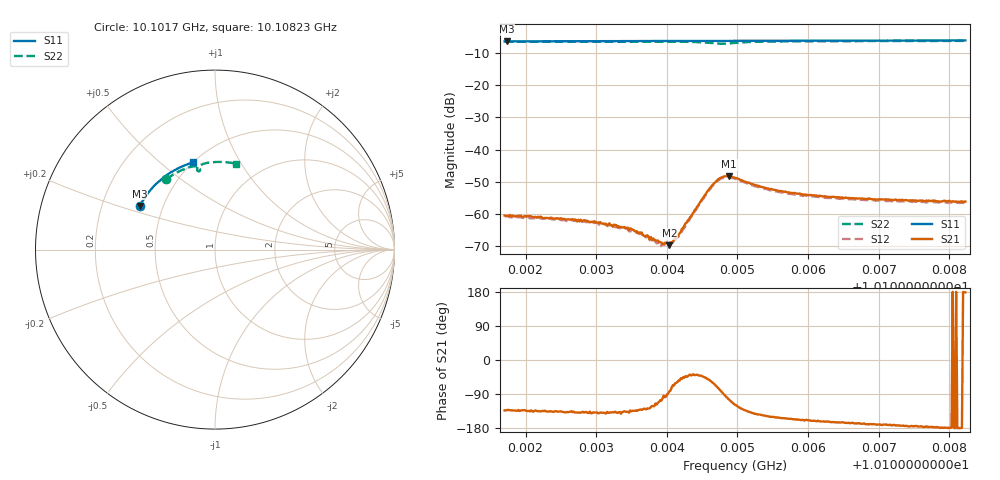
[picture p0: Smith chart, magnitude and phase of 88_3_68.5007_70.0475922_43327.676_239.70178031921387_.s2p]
#  HZ  S  RI  R  50.00
! Rohde & Schwarz Vector Network Analyzer
! Rohde-Schwarz,ZNB20-2Port,1311601062101988,3.16
! Created: UTC 3/20/2024, 5:07:41 PM
! freq[Hz]  re:S11  im:S11  re:S21  im:S21  re:S12  im:S12  re:S22  im:S22
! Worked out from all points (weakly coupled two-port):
!   401 points, 10.1017 GHz to 10.10823 GHz, reference 50 ohm
!   highest |S21| = -48.31 dB at 10.10488 GHz (marker M1); lowest = -69.9 dB at 10.10404 GHz (marker M2)
!   lowest |S11| = -6.3 dB at 10.10174 GHz (marker M3), VSWR 2.88, Z = 18.5 + j11.8 ohm
!   |S11| at or under -10 dB: nowhere
!   |S22| runs from -7.0 to -6.2 dB; largest |S21 - S12| = 0.00038
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1.0101703e10  -0.4192 0.2419  -0.000637 -0.000687  -0.000539 -0.000713  -0.2714 0.3915
1.0101735e10  -0.4182 0.2436  -0.000618 -0.000683  -0.000553 -0.000723  -0.2697 0.3927
1.0102061e10  -0.4088 0.2612  -0.00065 -0.00064  -0.000543 -0.000639  -0.2526 0.4051
1.0102796e10  -0.3849 0.2988  -0.000563 -0.000508  -0.000502 -0.000565  -0.2114 0.4304
1.0103399e10  -0.3626 0.3282  -0.000439 -0.000435  -0.000406 -0.000421  -0.1749 0.4477
1.0103514e10  -0.3583 0.3335  -0.000391 -0.000406  -0.000344 -0.000384  -0.1676 0.4508
1.010366e10  -0.3525 0.3403  -0.000298 -0.000352  -0.00026 -0.0004  -0.1578 0.4543
1.0103889e10  -0.3432 0.3505  -0.000126 -0.000338  -9.06e-05 -0.000323  -0.1421 0.4591
1.0104003e10  -0.3384 0.3555  -9.25e-06 -0.00035  5.19e-05 -0.000356  -0.1336 0.4613
1.0104036e10  -0.3369 0.3569  3.96e-05 -0.000319  6.1e-05 -0.000309  -0.1313 0.4618
1.0104101e10  -0.3342 0.3597  0.000153 -0.000365  0.00018 -0.000341  -0.1262 0.4626
1.0104182e10  -0.3307 0.3633  0.000291 -0.000401  0.000328 -0.00034  -0.1195 0.4634
1.0104558e10  -0.314 0.3788  0.0014 -0.00154  0.00146 -0.00135  -0.0867 0.4547
1.0104656e10  -0.3097 0.3829  0.0014 -0.0025  0.00158 -0.00227  -0.0827 0.4454
1.010477e10  -0.3045 0.3872  0.00048 -0.00362  0.000766 -0.00343  -0.0885 0.4363
1.0104884e10  -0.2994 0.3917  -0.000999 -0.00371  -0.000682 -0.00361  -0.0982 0.4403
1.0104966e10  -0.2957 0.3949  -0.0017 -0.00318  -0.00135 -0.00323  -0.0999 0.4482
1.0105227e10  -0.2833 0.4048  -0.00221 -0.00182  -0.00196 -0.00193  -0.0861 0.4677
1.0105488e10  -0.2705 0.4142  -0.00209 -0.00121  -0.00187 -0.00133  -0.0669 0.4769
1.0106059e10  -0.2418 0.4332  -0.00183 -0.00065  -0.00168 -0.000774  -0.0267 0.4855
1.0107152e10  -0.183 0.4637  -0.00164 -0.000242  -0.00153 -0.000376  0.0456 0.4879
1.0108229e10  -0.1216 0.4856  -0.00154 4.11e-05  -0.00147 -0.000138  0.1145 0.4791
